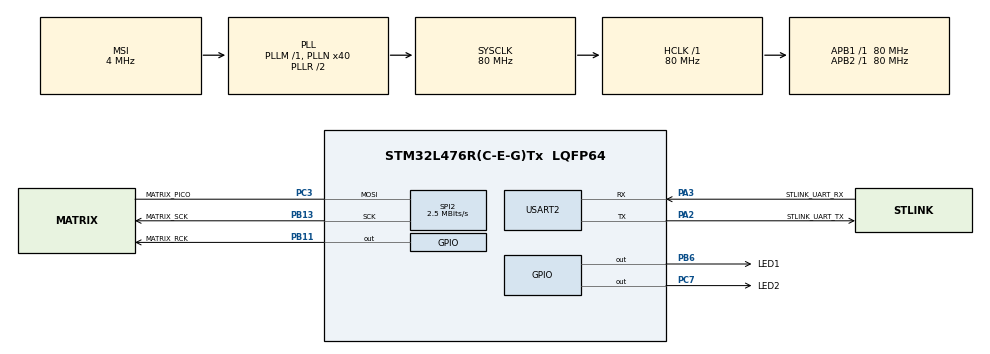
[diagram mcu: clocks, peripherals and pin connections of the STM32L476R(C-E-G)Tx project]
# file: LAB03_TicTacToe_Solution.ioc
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Mcu.Family=STM32L4
Mcu.Name=STM32L476R(C-E-G)Tx
Mcu.Package=LQFP64
NVIC.PriorityGroup=NVIC_PRIORITYGROUP_4
PA2.GPIO_Label=STLINK_UART_TX
PA2.Mode=Asynchronous
PA2.Signal=USART2_TX
PA3.GPIO_Label=STLINK_UART_RX
PA3.Mode=Asynchronous
PA3.Signal=USART2_RX
PB11.GPIO_Label=MATRIX_RCK
PB11.Signal=GPIO_Output
PB13.GPIO_Label=MATRIX_SCK
PB13.Mode=Simplex_Bidirectional_Master
PB13.Signal=SPI2_SCK
PB6.GPIO_Label=LED1
PB6.Signal=GPIO_Output
PC3.GPIO_Label=MATRIX_PICO
PC3.Mode=Simplex_Bidirectional_Master
PC3.Signal=SPI2_MOSI
PC7.GPIO_Label=LED2
PC7.Signal=GPIO_Output
ProjectManager.HeapSize=0x200
ProjectManager.StackSize=0x400
ProjectManager.TargetToolchain=STM32CubeIDE
RCC.ADCFreq_Value=32000000
RCC.AHBFreq_Value=80000000
RCC.APB1Freq_Value=80000000
RCC.APB1TimFreq_Value=80000000
RCC.APB2Freq_Value=80000000
RCC.APB2TimFreq_Value=80000000
RCC.CortexFreq_Value=80000000
RCC.HCLKFreq_Value=80000000
RCC.HSE_VALUE=8000000
RCC.HSI_VALUE=16000000
RCC.LSE_VALUE=32768
RCC.MSI_VALUE=4000000
RCC.PLLN=40
RCC.PLLSAI1N=16
RCC.SYSCLKFreq_VALUE=80000000
RCC.SYSCLKSource=RCC_SYSCLKSOURCE_PLLCLK
RCC.USBFreq_Value=32000000
RCC.VCOOutputFreq_Value=160000000
SPI2.BaudRatePrescaler=SPI_BAUDRATEPRESCALER_32
SPI2.CalculateBaudRate=2.5 MBits/s
SPI2.DataSize=SPI_DATASIZE_8BIT
SPI2.Direction=SPI_DIRECTION_1LINE
SPI2.Mode=SPI_MODE_MASTER
SPI2.VirtualType=VM_MASTER
USART2.VirtualMode-Asynchronous=VM_ASYNC
VP_RNG_VS_RNG.Mode=RNG_Activate
board=custom

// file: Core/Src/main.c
/* USER CODE BEGIN Header */
/**
 * @file main.c
 * @brief UART Tic-Tac-Toe Exercise
 * @author Philipp Schilk, 2023
 */
/* USER CODE END Header */
#include "main.h"

/* USER CODE BEGIN Includes */
#include "tictactoe.h"
/* USER CODE END Includes */

RNG_HandleTypeDef hrng;

SPI_HandleTypeDef hspi2;

UART_HandleTypeDef huart2;

void SystemClock_Config(void);
static void MX_GPIO_Init(void);
static void MX_SPI2_Init(void);
static void MX_USART2_UART_Init(void);
static void MX_RNG_Init(void);

int main(void) {

  /* MCU Configuration--------------------------------------------------------*/

  /* Reset of all peripherals, Initializes the Flash interface and the Systick. */
  HAL_Init();

  /* Configure the system clock */
  SystemClock_Config();

  /* Initialize all configured peripherals */
  MX_GPIO_Init();
  MX_SPI2_Init();
  MX_USART2_UART_Init();
  MX_RNG_Init();
  /* USER CODE BEGIN 2 */

  tictactoe_run(); // Never returns

  /* USER CODE END 2 */

  /* Infinite loop */

}

void SystemClock_Config(void) {
  RCC_OscInitTypeDef RCC_OscInitStruct = {0};
  RCC_ClkInitTypeDef RCC_ClkInitStruct = {0};

  /** Configure the main internal regulator output voltage
   */
  if (HAL_PWREx_ControlVoltageScaling(PWR_REGULATOR_VOLTAGE_SCALE1) != HAL_OK) {
    Error_Handler();
  }

  /** Initializes the RCC Oscillators according to the specified parameters
   * in the RCC_OscInitTypeDef structure.
   */
  RCC_OscInitStruct.OscillatorType = RCC_OSCILLATORTYPE_MSI;
  RCC_OscInitStruct.MSIState = RCC_MSI_ON;
  RCC_OscInitStruct.MSICalibrationValue = 0;
  RCC_OscInitStruct.MSIClockRange = RCC_MSIRANGE_6;
  RCC_OscInitStruct.PLL.PLLState = RCC_PLL_ON;
  RCC_OscInitStruct.PLL.PLLSource = RCC_PLLSOURCE_MSI;
  RCC_OscInitStruct.PLL.PLLM = 1;
  RCC_OscInitStruct.PLL.PLLN = 40;
  RCC_OscInitStruct.PLL.PLLP = RCC_PLLP_DIV7;
  RCC_OscInitStruct.PLL.PLLQ = RCC_PLLQ_DIV2;
  RCC_OscInitStruct.PLL.PLLR = RCC_PLLR_DIV2;
  if (HAL_RCC_OscConfig(&RCC_OscInitStruct) != HAL_OK) {
    Error_Handler();
  }

  /** Initializes the CPU, AHB and APB buses clocks
   */
  RCC_ClkInitStruct.ClockType = RCC_CLOCKTYPE_HCLK | RCC_CLOCKTYPE_SYSCLK | RCC_CLOCKTYPE_PCLK1 | RCC_CLOCKTYPE_PCLK2;
  RCC_ClkInitStruct.SYSCLKSource = RCC_SYSCLKSOURCE_PLLCLK;
  RCC_ClkInitStruct.AHBCLKDivider = RCC_SYSCLK_DIV1;
  RCC_ClkInitStruct.APB1CLKDivider = RCC_HCLK_DIV1;
  RCC_ClkInitStruct.APB2CLKDivider = RCC_HCLK_DIV1;

  if (HAL_RCC_ClockConfig(&RCC_ClkInitStruct, FLASH_LATENCY_4) != HAL_OK) {
    Error_Handler();
  }
}

static void MX_RNG_Init(void) {

  hrng.Instance = RNG;
  if (HAL_RNG_Init(&hrng) != HAL_OK) {
    Error_Handler();
  }
}

static void MX_SPI2_Init(void) {

  /* SPI2 parameter configuration*/
  hspi2.Instance = SPI2;
  hspi2.Init.Mode = SPI_MODE_MASTER;
  hspi2.Init.Direction = SPI_DIRECTION_1LINE;
  hspi2.Init.DataSize = SPI_DATASIZE_8BIT;
  hspi2.Init.CLKPolarity = SPI_POLARITY_LOW;
  hspi2.Init.CLKPhase = SPI_PHASE_1EDGE;
  hspi2.Init.NSS = SPI_NSS_SOFT;
  hspi2.Init.BaudRatePrescaler = SPI_BAUDRATEPRESCALER_32;
  hspi2.Init.FirstBit = SPI_FIRSTBIT_MSB;
  hspi2.Init.TIMode = SPI_TIMODE_DISABLE;
  hspi2.Init.CRCCalculation = SPI_CRCCALCULATION_DISABLE;
  hspi2.Init.CRCPolynomial = 7;
  hspi2.Init.CRCLength = SPI_CRC_LENGTH_DATASIZE;
  hspi2.Init.NSSPMode = SPI_NSS_PULSE_ENABLE;
  if (HAL_SPI_Init(&hspi2) != HAL_OK) {
    Error_Handler();
  }
}

static void MX_USART2_UART_Init(void) {

  /* USER CODE BEGIN USART2_Init 0 */
  //$ START SOL
  /* USER CODE END USART2_Init 0 */

  huart2.Instance = USART2;
  huart2.Init.BaudRate = 115200;
  huart2.Init.WordLength = UART_WORDLENGTH_8B;
  huart2.Init.StopBits = UART_STOPBITS_1;
  huart2.Init.Parity = UART_PARITY_NONE;
  huart2.Init.Mode = UART_MODE_TX_RX;
  huart2.Init.HwFlowCtl = UART_HWCONTROL_NONE;
  huart2.Init.OverSampling = UART_OVERSAMPLING_16;
  huart2.Init.OneBitSampling = UART_ONE_BIT_SAMPLE_DISABLE;
  huart2.AdvancedInit.AdvFeatureInit = UART_ADVFEATURE_NO_INIT;
  if (HAL_UART_Init(&huart2) != HAL_OK) {
    Error_Handler();
  }
  /* USER CODE BEGIN USART2_Init 2 */
  //$ END
  /* USER CODE END USART2_Init 2 */
}

static void MX_GPIO_Init(void) {
  GPIO_InitTypeDef GPIO_InitStruct = {0};
  /* USER CODE BEGIN MX_GPIO_Init_1 */
  //$ START SOL
  /* USER CODE END MX_GPIO_Init_1 */

  /* GPIO Ports Clock Enable */
  __HAL_RCC_GPIOC_CLK_ENABLE();
  __HAL_RCC_GPIOA_CLK_ENABLE();
  __HAL_RCC_GPIOB_CLK_ENABLE();

  /*Configure GPIO pin Output Level */
  HAL_GPIO_WritePin(GPIOB, MATRIX_RCK_Pin | LED1_Pin, GPIO_PIN_RESET);

  /*Configure GPIO pin Output Level */
  HAL_GPIO_WritePin(LED2_GPIO_Port, LED2_Pin, GPIO_PIN_RESET);

  /*Configure GPIO pins : MATRIX_RCK_Pin LED1_Pin */
  GPIO_InitStruct.Pin = MATRIX_RCK_Pin | LED1_Pin;
  GPIO_InitStruct.Mode = GPIO_MODE_OUTPUT_PP;
  GPIO_InitStruct.Pull = GPIO_NOPULL;
  GPIO_InitStruct.Speed = GPIO_SPEED_FREQ_LOW;
  HAL_GPIO_Init(GPIOB, &GPIO_InitStruct);

  /*Configure GPIO pin : LED2_Pin */
  GPIO_InitStruct.Pin = LED2_Pin;
  GPIO_InitStruct.Mode = GPIO_MODE_OUTPUT_PP;
  GPIO_InitStruct.Pull = GPIO_NOPULL;
  GPIO_InitStruct.Speed = GPIO_SPEED_FREQ_LOW;
  HAL_GPIO_Init(LED2_GPIO_Port, &GPIO_InitStruct);

  /* USER CODE BEGIN MX_GPIO_Init_2 */
  //$ END
  /* USER CODE END MX_GPIO_Init_2 */
}

/* USER CODE BEGIN 4 */

uint32_t tictactoe_get_input(void) {
  // TODO: Complete this function:
  // TODO: Part 1:
  //       1) Receive a single byte via UART. If the UART receive functions indicates
  //          that an error occurred, return 0.
  //$ START SOL
  // Buffer to store the received byte:
  uint8_t buf;

  // Receive one byte, waiting as long as necessary. If the UART fails (i.e.
  // returns a status code other than HAL_OK), return 0.
  if (HAL_UART_Receive(&huart2, &buf, 1, HAL_MAX_DELAY) != HAL_OK) {
    return 0;
  }
  //$ END

  // TODO: Part 2:
  //       2) If the byte received corresponds to the ASCII characters ('1'-'9'),
  //          return it's value (1-9)
  //       3) If any other byte was received, return 0.

  //$ START SOL
  // Check what byte was received.
  if (buf >= (uint8_t)'1' && buf <= (uint8_t)'9') {
    // It was a digit and not zero.
    // Convert to the numeric value and return:
    return (uint32_t)(buf - '0');
  } else {
    // Some other value was received. Return 0:
    return 0;
  }
  //$ END
}

uint32_t tictactoe_get_random_number(void) {
  // This function uses the RNG peripheral to generate a random number.
  uint32_t val;
  HAL_RNG_GenerateRandomNumber(&hrng, &val);
  return val;
}

void tictactoe_write_display(uint32_t red, uint32_t green) {
  // This function uses the SPI peripheral (a serial bus) to
  // write to the LED matrix on the shield.

  // Ensure RCK is low:
  HAL_GPIO_WritePin(MATRIX_RCK_GPIO_Port, MATRIX_RCK_Pin, GPIO_PIN_RESET);

  // Construct 3 byte buffer:
  uint8_t buf[] = {
      red >> 4,
      (red & 0xF) << 4 | (green >> 8),
      green & 0xff,
  };

  // Transmit:
  HAL_SPI_Transmit(&hspi2, buf, 3, 300);

  // Latch:
  HAL_GPIO_WritePin(MATRIX_RCK_GPIO_Port, MATRIX_RCK_Pin, GPIO_PIN_SET);
  HAL_Delay(1);
  HAL_GPIO_WritePin(MATRIX_RCK_GPIO_Port, MATRIX_RCK_Pin, GPIO_PIN_RESET);
}

void tictactoe_write_leds(uint32_t led1, uint32_t led2) {
  // This function sets LED1 and LED2 on the PBL shield.
  HAL_GPIO_WritePin(LED1_GPIO_Port, LED1_Pin, led1);
  HAL_GPIO_WritePin(LED2_GPIO_Port, LED2_Pin, led2);
}

/* USER CODE END 4 */

void Error_Handler(void) {
  __disable_irq();
  while (1) {
  }
}
